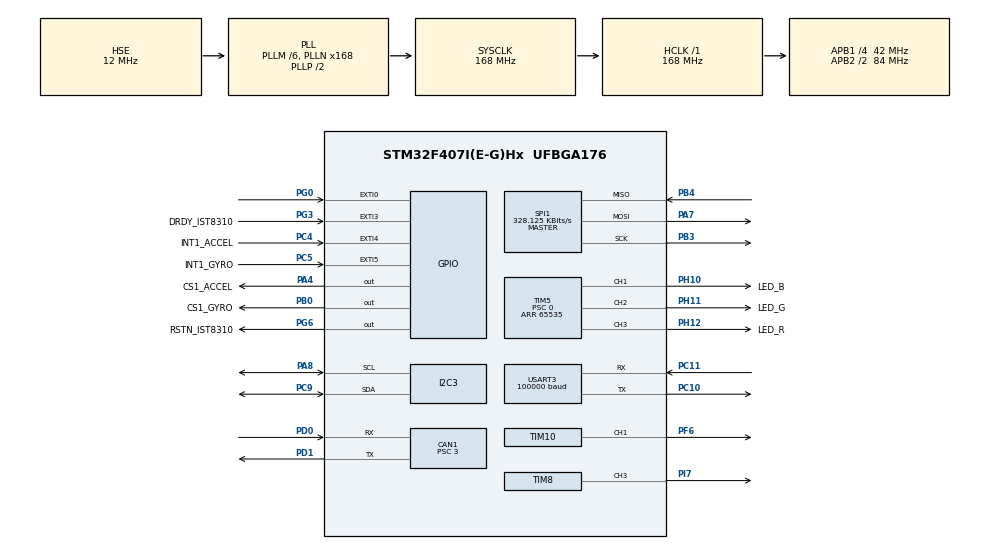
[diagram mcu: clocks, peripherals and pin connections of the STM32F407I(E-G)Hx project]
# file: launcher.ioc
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CAN1.BS1=CAN_BS1_9TQ
CAN1.BS2=CAN_BS2_4TQ
CAN1.CalculateBaudRate=1000000
CAN1.CalculateTimeBit=1000
CAN1.CalculateTimeQuantum=71.42857142857143
CAN1.Prescaler=3
Dma.Request0=SPI1_RX
Dma.Request1=SPI1_TX
Dma.Request2=USART3_RX
Dma.SPI1_RX.0.Direction=DMA_PERIPH_TO_MEMORY
Dma.SPI1_RX.0.FIFOMode=DMA_FIFOMODE_DISABLE
Dma.SPI1_RX.0.Instance=DMA2_Stream2
Dma.SPI1_RX.0.MemDataAlignment=DMA_MDATAALIGN_BYTE
Dma.SPI1_RX.0.MemInc=DMA_MINC_ENABLE
Dma.SPI1_RX.0.Mode=DMA_NORMAL
Dma.SPI1_RX.0.PeriphDataAlignment=DMA_PDATAALIGN_BYTE
Dma.SPI1_RX.0.PeriphInc=DMA_PINC_DISABLE
Dma.SPI1_RX.0.Priority=DMA_PRIORITY_VERY_HIGH
Dma.SPI1_TX.1.Direction=DMA_MEMORY_TO_PERIPH
Dma.SPI1_TX.1.FIFOMode=DMA_FIFOMODE_DISABLE
Dma.SPI1_TX.1.Instance=DMA2_Stream3
Dma.SPI1_TX.1.MemDataAlignment=DMA_MDATAALIGN_BYTE
Dma.SPI1_TX.1.MemInc=DMA_MINC_ENABLE
Dma.SPI1_TX.1.Mode=DMA_NORMAL
Dma.SPI1_TX.1.PeriphDataAlignment=DMA_PDATAALIGN_BYTE
Dma.SPI1_TX.1.PeriphInc=DMA_PINC_DISABLE
Dma.SPI1_TX.1.Priority=DMA_PRIORITY_HIGH
Dma.USART3_RX.2.Direction=DMA_PERIPH_TO_MEMORY
Dma.USART3_RX.2.FIFOMode=DMA_FIFOMODE_DISABLE
Dma.USART3_RX.2.Instance=DMA1_Stream1
Dma.USART3_RX.2.MemDataAlignment=DMA_MDATAALIGN_BYTE
Dma.USART3_RX.2.MemInc=DMA_MINC_ENABLE
Dma.USART3_RX.2.Mode=DMA_CIRCULAR
Dma.USART3_RX.2.PeriphDataAlignment=DMA_PDATAALIGN_BYTE
Dma.USART3_RX.2.PeriphInc=DMA_PINC_DISABLE
Dma.USART3_RX.2.Priority=DMA_PRIORITY_MEDIUM
FREERTOS.INCLUDE_eTaskGetState=1
FREERTOS.INCLUDE_pcTaskGetTaskName=1
FREERTOS.INCLUDE_uxTaskGetStackHighWaterMark=1
FREERTOS.INCLUDE_vTaskCleanUpResources=1
FREERTOS.INCLUDE_vTaskDelayUntil=1
FREERTOS.INCLUDE_xEventGroupSetBitFromISR=1
FREERTOS.INCLUDE_xQueueGetMutexHolder=1
FREERTOS.INCLUDE_xSemaphoreGetMutexHolder=1
FREERTOS.INCLUDE_xTaskAbortDelay=1
FREERTOS.INCLUDE_xTaskGetCurrentTaskHandle=1
FREERTOS.INCLUDE_xTaskGetHandle=1
FREERTOS.INCLUDE_xTimerPendFunctionCall=1
FREERTOS.Tasks01=test,24,128,test_task,As weak,NULL,Dynamic,NULL,NULL
FREERTOS.configTOTAL_HEAP_SIZE=24576
I2C3.I2C_Mode=I2C_Fast
Mcu.Family=STM32F4
Mcu.Name=STM32F407I(E-G)Hx
Mcu.Package=UFBGA176
NVIC.CAN1_RX0_IRQn=true\:5\:0\:false\:false\:true\:true\:true\:true\:true
NVIC.CAN1_RX1_IRQn=true\:5\:0\:false\:false\:true\:true\:true\:true\:true
NVIC.CAN1_TX_IRQn=true\:5\:0\:false\:false\:true\:true\:true\:true\:true
NVIC.DMA1_Stream1_IRQn=true\:5\:0\:false\:false\:true\:true\:false\:true\:true
NVIC.DMA2_Stream2_IRQn=true\:5\:0\:true\:false\:false\:true\:false\:true\:true
NVIC.DMA2_Stream3_IRQn=true\:5\:0\:true\:false\:false\:true\:false\:true\:true
NVIC.EXTI0_IRQn=true\:6\:0\:true\:false\:true\:true\:true\:true\:true
NVIC.EXTI3_IRQn=true\:5\:0\:true\:false\:true\:true\:true\:true\:true
NVIC.EXTI4_IRQn=true\:5\:0\:true\:false\:true\:true\:true\:true\:true
NVIC.EXTI9_5_IRQn=true\:5\:0\:true\:false\:true\:true\:true\:true\:true
NVIC.PriorityGroup=NVIC_PRIORITYGROUP_4
PA13.Mode=Serial_Wire
PA13.Signal=SYS_JTMS-SWDIO
PA14.Mode=Serial_Wire
PA14.Signal=SYS_JTCK-SWCLK
PA4.GPIO_Label=CS1_ACCEL
PA4.GPIO_PuPd=GPIO_PULLUP
PA4.GPIO_Speed=GPIO_SPEED_FREQ_HIGH
PA4.PinState=GPIO_PIN_SET
PA4.Signal=GPIO_Output
PA7.GPIO_PuPd=GPIO_PULLUP
PA7.Mode=Full_Duplex_Master
PA7.Signal=SPI1_MOSI
PA8.GPIO_Pu=GPIO_PULLUP
PA8.Mode=I2C
PA8.Signal=I2C3_SCL
PB0.GPIO_Label=CS1_GYRO
PB0.GPIO_PuPd=GPIO_PULLUP
PB0.GPIO_Speed=GPIO_SPEED_FREQ_HIGH
PB0.PinState=GPIO_PIN_SET
PB0.Signal=GPIO_Output
PB3.GPIO_PuPd=GPIO_PULLUP
PB3.Mode=Full_Duplex_Master
PB3.Signal=SPI1_SCK
PB4.GPIO_PuPd=GPIO_PULLUP
PB4.Mode=Full_Duplex_Master
PB4.Signal=SPI1_MISO
PC10.Mode=Asynchronous
PC10.Signal=USART3_TX
PC11.Mode=Asynchronous
PC11.Signal=USART3_RX
PC4.GPIO_Label=INT1_ACCEL
PC4.GPIO_ModeDefaultEXTI=GPIO_MODE_IT_FALLING
PC4.GPIO_PuPd=GPIO_PULLUP
PC4.Signal=GPXTI4
PC5.GPIO_Label=INT1_GYRO
PC5.GPIO_ModeDefaultEXTI=GPIO_MODE_IT_FALLING
PC5.GPIO_PuPd=GPIO_PULLUP
PC5.Signal=GPXTI5
PC9.GPIO_Pu=GPIO_PULLUP
PC9.Mode=I2C
PC9.Signal=I2C3_SDA
PD0.Mode=CAN_Activate
PD0.Signal=CAN1_RX
PD1.Mode=CAN_Activate
PD1.Signal=CAN1_TX
PF6.GPIO_PuPd=GPIO_PULLUP
PF6.GPIO_Speed=GPIO_SPEED_FREQ_HIGH
PF6.Signal=S_TIM10_CH1
PG0.GPIO_ModeDefaultEXTI=GPIO_MODE_IT_FALLING
PG0.GPIO_PuPd=GPIO_PULLUP
PG0.Signal=GPXTI0
PG3.GPIO_Label=DRDY_IST8310
PG3.GPIO_ModeDefaultEXTI=GPIO_MODE_IT_FALLING
PG3.GPIO_PuPd=GPIO_PULLUP
PG3.Signal=GPXTI3
PG6.GPIO_Label=RSTN_IST8310
PG6.GPIO_PuPd=GPIO_PULLUP
PG6.GPIO_Speed=GPIO_SPEED_FREQ_MEDIUM
PG6.PinState=GPIO_PIN_SET
PG6.Signal=GPIO_Output
PH0-OSC_IN.Mode=HSE-External-Oscillator
PH0-OSC_IN.Signal=RCC_OSC_IN
PH1-OSC_OUT.Mode=HSE-External-Oscillator
PH1-OSC_OUT.Signal=RCC_OSC_OUT
PH10.GPIO_Label=LED_B
PH10.GPIO_PuPd=GPIO_PULLUP
PH10.GPIO_Speed=GPIO_SPEED_FREQ_HIGH
PH10.Signal=S_TIM5_CH1
PH11.GPIO_Label=LED_G
PH11.GPIO_PuPd=GPIO_PULLUP
PH11.GPIO_Speed=GPIO_SPEED_FREQ_HIGH
PH11.Signal=S_TIM5_CH2
PH12.GPIO_Label=LED_R
PH12.GPIO_PuPd=GPIO_PULLUP
PH12.GPIO_Speed=GPIO_SPEED_FREQ_HIGH
PH12.Signal=S_TIM5_CH3
PI7.Signal=S_TIM8_CH3
ProjectManager.HeapSize=0x2000
ProjectManager.StackSize=0x2000
ProjectManager.TargetToolchain=MDK-ARM V5
RCC.48MHZClocksFreq_Value=48000000
RCC.AHBFreq_Value=168000000
RCC.APB1CLKDivider=RCC_HCLK_DIV4
RCC.APB1Freq_Value=42000000
RCC.APB1TimFreq_Value=84000000
RCC.APB2CLKDivider=RCC_HCLK_DIV2
RCC.APB2Freq_Value=84000000
RCC.APB2TimFreq_Value=168000000
RCC.CortexFreq_Value=168000000
RCC.HCLKFreq_Value=168000000
RCC.HSE_VALUE=12000000
RCC.HSI_VALUE=16000000
RCC.LSE_VALUE=32768
RCC.PLLM=6
RCC.PLLN=168
RCC.PLLQ=7
RCC.PLLSourceVirtual=RCC_PLLSOURCE_HSE
RCC.RCC_RTC_Clock_SourceVirtual=RCC_RTCCLKSOURCE_HSE_DIV30
RCC.RCC_RTC_Clock_Source_FROM_HSE=RCC_RTCCLKSOURCE_HSE_DIV30
RCC.SYSCLKFreq_VALUE=168000000
RCC.SYSCLKSource=RCC_SYSCLKSOURCE_PLLCLK
RCC.VCOOutputFreq_Value=336000000
SH.S_TIM10_CH1.0=TIM10_CH1,PWM Generation1 CH1
SH.S_TIM5_CH1.0=TIM5_CH1,PWM Generation1 CH1
SH.S_TIM5_CH2.0=TIM5_CH2,PWM Generation2 CH2
SH.S_TIM5_CH3.0=TIM5_CH3,PWM Generation3 CH3
SH.S_TIM8_CH3.0=TIM8_CH3,PWM Generation3 CH3
SPI1.BaudRatePrescaler=SPI_BAUDRATEPRESCALER_256
SPI1.CLKPhase=SPI_PHASE_2EDGE
SPI1.CLKPolarity=SPI_POLARITY_HIGH
SPI1.CalculateBaudRate=328.125 KBits/s
SPI1.Direction=SPI_DIRECTION_2LINES
SPI1.Mode=SPI_MODE_MASTER
SPI1.VirtualType=VM_MASTER
TIM10.Channel=TIM_CHANNEL_1
TIM10.Period=4999
TIM5.Channel-PWM\ Generation1\ CH1=TIM_CHANNEL_1
TIM5.Channel-PWM\ Generation2\ CH2=TIM_CHANNEL_2
TIM5.Channel-PWM\ Generation3\ CH3=TIM_CHANNEL_3
TIM5.Period=65535
TIM5.Prescaler=0
TIM8.Channel-PWM\ Generation3\ CH3=TIM_CHANNEL_3
TIM8.Period=99
TIM8.Prescaler=8399
TIM8.Pulse-PWM\ Generation3\ CH3=0
USART3.BaudRate=100000
USART3.Mode=MODE_RX
USART3.Parity=PARITY_EVEN
USART3.VirtualMode=VM_ASYNC
VP_FREERTOS_VS_CMSIS_V1.Mode=CMSIS_V1
VP_TIM10_VS_ClockSourceINT.Mode=Enable_Timer
VP_TIM5_VS_ClockSourceINT.Mode=Internal
board=custom

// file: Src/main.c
/**
 ******************************************************************************
 * @file    main.c
 * @brief   主函数，程序进口
 ******************************************************************************
 * @attention
 ******************************************************************************
 */

#include "main.h"

#include "bsp_delay.h"

#include "motorsMiddleware.h"
#include "servoMiddleware.h"

void SystemClock_Config(void);
void MX_FREERTOS_Init(void);
void BSP_Init(void);

int main(void)
{
	HAL_Init();
	SystemClock_Config();
	BSP_Init();

  /* USER CODE BEGIN 2 */
	motor_can_filter_init(&hcan1);
	servo_PWM_init(&htim8);
	delay_init();
  /* USER CODE END 2 */

  /* Call init function for freertos objects (in freertos.c) */
	MX_FREERTOS_Init();
  /* Start scheduler */
	osKernelStart();
  while (1){}
}

/**
  * @brief  BSP_Init,打开需要的外设
  * @param  None
  * @retval None
  */
void BSP_Init(void)
{
  MX_GPIO_Init();
  MX_DMA_Init();
  MX_SPI1_Init();
  MX_TIM5_Init();
  MX_I2C3_Init();
  MX_TIM10_Init();
  MX_USART3_UART_Init();
  MX_CAN1_Init();
  MX_TIM8_Init();
}

void SystemClock_Config(void)
{
  RCC_OscInitTypeDef RCC_OscInitStruct = {0};
  RCC_ClkInitTypeDef RCC_ClkInitStruct = {0};

  /** Configure the main internal regulator output voltage
  */
  __HAL_RCC_PWR_CLK_ENABLE();
  __HAL_PWR_VOLTAGESCALING_CONFIG(PWR_REGULATOR_VOLTAGE_SCALE1);

  /** Initializes the RCC Oscillators according to the specified parameters
  * in the RCC_OscInitTypeDef structure.
  */
  RCC_OscInitStruct.OscillatorType = RCC_OSCILLATORTYPE_HSE;
  RCC_OscInitStruct.HSEState = RCC_HSE_ON;
  RCC_OscInitStruct.PLL.PLLState = RCC_PLL_ON;
  RCC_OscInitStruct.PLL.PLLSource = RCC_PLLSOURCE_HSE;
  RCC_OscInitStruct.PLL.PLLM = 6;
  RCC_OscInitStruct.PLL.PLLN = 168;
  RCC_OscInitStruct.PLL.PLLP = RCC_PLLP_DIV2;
  RCC_OscInitStruct.PLL.PLLQ = 7;
  if (HAL_RCC_OscConfig(&RCC_OscInitStruct) != HAL_OK)
  {
    Error_Handler();
  }

  /** Initializes the CPU, AHB and APB buses clocks
  */
  RCC_ClkInitStruct.ClockType = RCC_CLOCKTYPE_HCLK|RCC_CLOCKTYPE_SYSCLK
                              |RCC_CLOCKTYPE_PCLK1|RCC_CLOCKTYPE_PCLK2;
  RCC_ClkInitStruct.SYSCLKSource = RCC_SYSCLKSOURCE_PLLCLK;
  RCC_ClkInitStruct.AHBCLKDivider = RCC_SYSCLK_DIV1;
  RCC_ClkInitStruct.APB1CLKDivider = RCC_HCLK_DIV4;
  RCC_ClkInitStruct.APB2CLKDivider = RCC_HCLK_DIV2;

  if (HAL_RCC_ClockConfig(&RCC_ClkInitStruct, FLASH_LATENCY_5) != HAL_OK)
  {
    Error_Handler();
  }
}

void Error_Handler(void)
{
}

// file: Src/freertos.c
/* USER CODE BEGIN Header */
/**
  ******************************************************************************
  * File Name          : freertos.c
  * Description        : Code for freertos applications
  ******************************************************************************
  * @attention
  *
  * <h2><center>&copy; Copyright (c) 2019 STMicroelectronics.
  * All rights reserved.</center></h2>
  *
  * This software component is licensed by ST under Ultimate Liberty license
  * SLA0044, the "License"; You may not use this file except in compliance with
  * the License. You may obtain a copy of the License at:
  *                             www.st.com/SLA0044
  *
  ******************************************************************************
  */
/* USER CODE END Header */

#include "FreeRTOS.h"
#include "task.h"
#include "main.h"
#include "cmsis_os.h"

/* USER CODE BEGIN Includes */

#include "INS_task.h"
#include "led_flow_task.h"
#include "canbus_send_task.h"
#include "Controller_task.h"

/* USER CODE END Includes */

/* USER CODE BEGIN PTD */

osThreadId imuTaskHandle;
osThreadId led_RGB_flow_handle;
osThreadId canbus_send_handle;
osThreadId controller;
/* USER CODE END PTD */

osThreadId testHandle;

void test_task(void const * argument);

void MX_FREERTOS_Init(void); /* (MISRA C 2004 rule 8.1) */

/* GetIdleTaskMemory prototype (linked to static allocation support) */
void vApplicationGetIdleTaskMemory( StaticTask_t **ppxIdleTaskTCBBuffer, StackType_t **ppxIdleTaskStackBuffer, uint32_t *pulIdleTaskStackSize );

/* GetTimerTaskMemory prototype (linked to static allocation support) */
void vApplicationGetTimerTaskMemory( StaticTask_t **ppxTimerTaskTCBBuffer, StackType_t **ppxTimerTaskStackBuffer, uint32_t *pulTimerTaskStackSize );

/* USER CODE BEGIN GET_IDLE_TASK_MEMORY */
static StaticTask_t xIdleTaskTCBBuffer;
static StackType_t xIdleStack[configMINIMAL_STACK_SIZE];

void vApplicationGetIdleTaskMemory( StaticTask_t **ppxIdleTaskTCBBuffer, StackType_t **ppxIdleTaskStackBuffer, uint32_t *pulIdleTaskStackSize )
{
  *ppxIdleTaskTCBBuffer = &xIdleTaskTCBBuffer;
  *ppxIdleTaskStackBuffer = &xIdleStack[0];
  *pulIdleTaskStackSize = configMINIMAL_STACK_SIZE;
  /* place for user code */
}
/* USER CODE END GET_IDLE_TASK_MEMORY */

/* USER CODE BEGIN GET_TIMER_TASK_MEMORY */
static StaticTask_t xTimerTaskTCBBuffer;
static StackType_t xTimerStack[configTIMER_TASK_STACK_DEPTH];

void vApplicationGetTimerTaskMemory( StaticTask_t **ppxTimerTaskTCBBuffer, StackType_t **ppxTimerTaskStackBuffer, uint32_t *pulTimerTaskStackSize )
{
  *ppxTimerTaskTCBBuffer = &xTimerTaskTCBBuffer;
  *ppxTimerTaskStackBuffer = &xTimerStack[0];
  *pulTimerTaskStackSize = configTIMER_TASK_STACK_DEPTH;
  /* place for user code */
}
/* USER CODE END GET_TIMER_TASK_MEMORY */

void MX_FREERTOS_Init(void) {

  /* Create the thread(s) */
  /* definition and creation of test */
  osThreadDef(test, test_task, osPriorityNormal, 0, 128);
  testHandle = osThreadCreate(osThread(test), NULL);

  /* USER CODE BEGIN RTOS_THREADS */
  /* add threads, ... */
    osThreadDef(imuTask, INS_task, osPriorityRealtime, 0, 1024);
    imuTaskHandle = osThreadCreate(osThread(imuTask), NULL);

    osThreadDef(led, led_RGB_flow_task, osPriorityNormal, 0, 256);
    led_RGB_flow_handle = osThreadCreate(osThread(led), NULL);

    osThreadDef(can_send, canbus_send_task, osPriorityHigh, 0, 256);
    canbus_send_handle = osThreadCreate(osThread(can_send), NULL);

    osThreadDef(controller, Controller_task, osPriorityNormal, 0, 256);
    controller = osThreadCreate(osThread(controller), NULL);
  /* USER CODE END RTOS_THREADS */

}

__weak void test_task(void const * argument)
{
  for(;;)
  {
    osDelay(1);
  }
}
